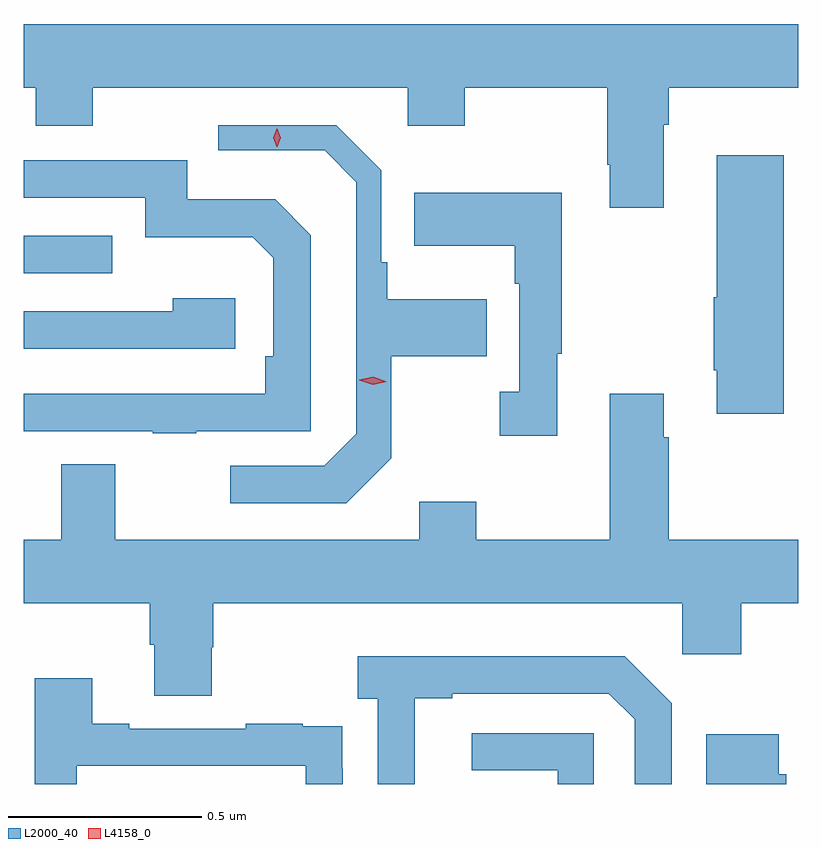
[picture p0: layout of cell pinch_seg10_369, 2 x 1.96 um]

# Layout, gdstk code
import gdstk
lib = gdstk.Library(unit=1e-6, precision=1e-09)
def R(c, l, rs):  # rectangles x0, y0, x1, y1
    for r in rs: c.add(gdstk.rectangle(r[:2], r[2:], *l))
def P(c, l, *ps):  # polygons
    for p in ps: c.add(gdstk.Polygon(p, *l))
L2000_40 = (2000, 40)
L4158_0 = (4158, 0)

pinch_seg10_369 = lib.new_cell('pinch_seg10_369')
R(pinch_seg10_369, L2000_40, [(394.198,1263.873,394.427,1263.969)])
P(pinch_seg10_369, L2000_40, [(395.851,1264.256),(395.864,1264.256),(395.864,1264.352),(396.198,1264.352),(396.198,1264.516),(394.198,1264.516),(394.198,1264.352),(394.229,1264.352),(394.229,1264.253),(394.377,1264.253),(394.377,1264.352),(395.189,1264.352),(395.189,1264.253),(395.337,1264.253),(395.337,1264.352),(395.704,1264.352),(395.704,1264.153),(395.711,1264.153),(395.711,1264.041),(395.851,1264.041)],
  [(395.147,1263.395),(395.147,1263.658),(395.393,1263.658),(395.393,1263.805),(395.137,1263.805),(395.137,1263.901),(395.121,1263.901),(395.121,1264.138),(395.005,1264.254),(394.701,1264.254),(394.701,1264.19),(394.975,1264.19),(395.057,1264.108),(395.057,1263.458),(394.974,1263.375),(394.731,1263.375),(394.731,1263.279),(395.031,1263.279)],
  [(396.16,1264.177),(395.987,1264.177),(395.987,1263.811),(395.98,1263.811),(395.98,1263.622),(395.987,1263.622),(395.987,1263.51),(396.16,1263.51)],
  [(394.643,1263.465),(394.939,1263.465),(394.939,1263.971),(394.847,1264.063),(394.621,1264.063),(394.621,1264.164),(394.198,1264.164),(394.198,1264.068),(394.512,1264.068),(394.512,1263.965),(394.789,1263.965),(394.842,1263.912),(394.842,1263.658),(394.822,1263.658),(394.822,1263.561),(394.198,1263.561),(394.198,1263.465),(394.531,1263.465),(394.531,1263.46),(394.643,1263.46)],
  [(395.575,1263.665),(395.587,1263.665),(395.587,1264.081),(395.206,1264.081),(395.206,1263.943),(395.466,1263.943),(395.466,1263.845),(395.478,1263.845),(395.478,1263.566),(395.427,1263.566),(395.427,1263.453),(395.575,1263.453)],
  [(394.744,1263.808),(394.583,1263.808),(394.583,1263.774),(394.198,1263.774),(394.198,1263.678),(394.744,1263.678)],
  [(394.683,1262.907),(394.688,1262.907),(394.688,1263.02),(395.898,1263.02),(395.898,1262.889),(396.05,1262.889),(396.05,1263.02),(396.198,1263.02),(396.198,1263.184),(395.864,1263.184),(395.864,1263.449),(395.851,1263.449),(395.851,1263.562),(395.711,1263.562),(395.711,1263.184),(395.367,1263.184),(395.367,1263.283),(395.219,1263.283),(395.219,1263.184),(394.435,1263.184),(394.435,1263.379),(394.295,1263.379),(394.295,1263.184),(394.198,1263.184),(394.198,1263.02),(394.523,1263.02),(394.523,1262.914),(394.535,1262.914),(394.535,1262.782),(394.683,1262.782)],
  [(395.208,1262.775),(395.305,1262.775),(395.305,1262.787),(395.709,1262.787),(395.775,1262.721),(395.775,1262.554),(395.871,1262.554),(395.871,1262.763),(395.75,1262.884),(395.061,1262.884),(395.061,1262.774),(395.112,1262.774),(395.112,1262.554),(395.208,1262.554)],
  [(394.335,1262.601),(394.926,1262.601),(394.926,1262.554),(395.022,1262.554),(395.022,1262.594),(395.021,1262.594),(395.021,1262.703),(394.919,1262.703),(394.919,1262.71),(394.771,1262.71),(394.771,1262.697),(394.471,1262.697),(394.471,1262.71),(394.375,1262.71),(394.375,1262.827),(394.227,1262.827),(394.227,1262.554),(394.335,1262.554)],
  [(395.67,1262.685),(395.355,1262.685),(395.355,1262.589),(395.577,1262.589),(395.577,1262.554),(395.67,1262.554)],
  [(396.167,1262.579),(396.148,1262.579),(396.148,1262.683),(395.96,1262.683),(395.96,1262.554),(396.167,1262.554)])
P(pinch_seg10_369, L4158_0, [(395.099,1263.585),(395.065,1263.596),(395.065,1263.597),(395.065,1263.597),(395.1,1263.605),(395.135,1263.593),(395.135,1263.593),(395.135,1263.593)],
  [(394.852,1264.199),(394.852,1264.199),(394.842,1264.222),(394.852,1264.245),(394.852,1264.245),(394.853,1264.245),(394.862,1264.222),(394.853,1264.199)])

lib.write_gds('pinch_seg10_369.gds')
